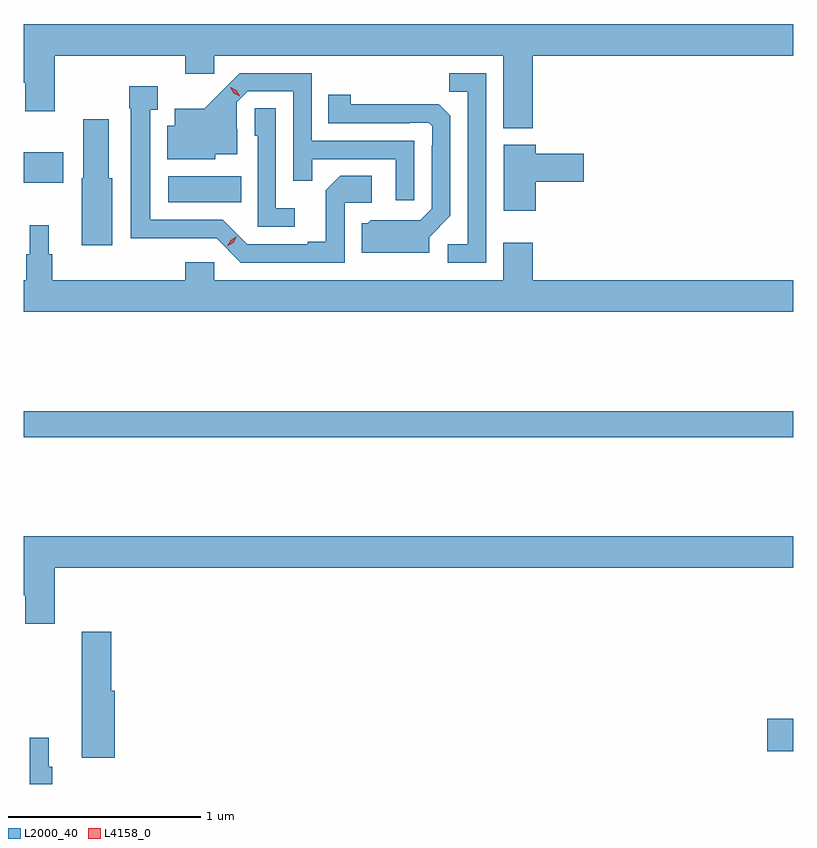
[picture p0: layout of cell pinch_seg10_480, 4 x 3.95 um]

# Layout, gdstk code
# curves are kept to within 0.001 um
import gdstk
lib = gdstk.Library(unit=1e-6, precision=1e-09)
def R(c, l, rs):  # rectangles x0, y0, x1, y1
    for r in rs: c.add(gdstk.rectangle(r[:2], r[2:], *l))
def P(c, l, *ps):  # polygons
    for p in ps: c.add(gdstk.Polygon(p, *l))
L2000_40 = (2000, 40)
L4158_0 = (4158, 0)

pinch_seg10_480 = lib.new_cell('pinch_seg10_480')
R(pinch_seg10_480, L2000_40, [(265.92,1299.362,266.056,1299.533), (262.056,1300.996,266.056,1301.132), (262.806,1302.218,263.186,1302.352), (262.056,1302.32,262.261,1302.478)])
P(pinch_seg10_480, L2000_40, [(264.701,1302.98),(266.056,1302.98),(266.056,1303.144),(262.056,1303.144),(262.056,1302.838),(262.064,1302.838),(262.064,1302.69),(262.217,1302.69),(262.217,1302.98),(262.895,1302.98),(262.895,1302.885),(263.046,1302.885),(263.046,1302.98),(264.548,1302.98),(264.548,1302.602),(264.701,1302.602)],
  [(264.087,1302.537),(263.553,1302.537),(263.553,1302.888),(263.18,1302.888),(262.993,1302.703),(262.841,1302.703),(262.841,1302.616),(262.802,1302.616),(262.802,1302.44),(263.052,1302.44),(263.052,1302.467),(263.167,1302.467),(263.167,1302.596),(263.163,1302.596),(263.163,1302.738),(263.22,1302.795),(263.457,1302.795),(263.457,1302.328),(263.555,1302.328),(263.555,1302.441),(263.991,1302.441),(263.991,1302.228),(264.087,1302.228)],
  [(264.459,1302.888),(264.268,1302.888),(264.268,1302.793),(264.363,1302.793),(264.363,1302),(264.261,1302),(264.261,1301.904),(264.459,1301.904)],
  [(263.724,1302.216),(263.866,1302.216),(263.866,1302.356),(263.701,1302.356),(263.625,1302.28),(263.625,1302.013),(263.531,1302.013),(263.531,1302),(263.217,1302),(263.091,1302.126),(262.714,1302.126),(262.714,1302.699),(262.753,1302.699),(262.753,1302.82),(262.603,1302.82),(262.603,1302.707),(262.613,1302.707),(262.613,1302.029),(263.058,1302.03),(263.184,1301.904),(263.724,1301.904)],
  [(264.163,1302.036),(264.273,1302.146),(264.273,1302.668),(264.214,1302.727),(263.757,1302.728),(263.757,1302.775),(263.638,1302.775),(263.638,1302.627),(264.062,1302.627),(264.062,1302.63),(264.162,1302.63),(264.18,1302.612),(264.18,1302.512),(264.177,1302.512),(264.177,1302.183),(264.117,1302.123),(263.86,1302.124),(263.844,1302.108),(263.813,1302.108),(263.813,1301.954),(264.163,1301.954)],
  [(263.464,1302.187),(263.367,1302.187),(263.367,1302.707),(263.256,1302.707),(263.256,1302.564),(263.271,1302.564),(263.271,1302.09),(263.464,1302.09)],
  [(262.516,1302.342),(262.498,1302.342),(262.498,1302.649),(262.364,1302.649),(262.364,1302.342),(262.358,1302.342),(262.358,1301.994),(262.516,1301.994)],
  [(264.718,1302.323),(264.967,1302.323),(264.967,1302.47),(264.718,1302.47),(264.718,1302.517),(264.551,1302.517),(264.551,1302.174),(264.718,1302.174)],
  [(266.056,1301.812),(264.701,1301.812),(264.701,1302.007),(264.548,1302.007),(264.548,1301.812),(263.046,1301.812),(263.046,1301.905),(262.895,1301.905),(262.895,1301.812),(262.205,1301.812),(262.205,1301.946),(262.186,1301.946),(262.186,1302.097),(262.088,1302.097),(262.088,1301.946),(262.069,1301.946),(262.069,1301.812),(262.056,1301.812),(262.056,1301.648),(266.056,1301.648)],
  [(262.217,1300.316),(266.056,1300.316),(266.056,1300.48),(262.056,1300.48),(262.056,1300.174),(262.064,1300.174),(262.064,1300.026),(262.217,1300.026)],
  [(262.529,1299.678),(262.511,1299.678),(262.511,1299.985),(262.357,1299.985),(262.357,1299.678),(262.358,1299.678),(262.358,1299.33),(262.529,1299.33)],
  [(262.205,1299.282),(262.186,1299.282),(262.186,1299.433),(262.087,1299.433),(262.087,1299.193),(262.205,1299.193)])
P(pinch_seg10_480, L4158_0, [(263.178,1302.769),(263.147,1302.785),(263.13,1302.814),(263.13,1302.815),(263.131,1302.815),(263.161,1302.799),(263.178,1302.77),(263.178,1302.769)],
  [(263.114,1301.988),(263.114,1301.989),(263.131,1302.021),(263.162,1302.041),(263.162,1302.041),(263.162,1302.04),(263.146,1302.008),(263.115,1301.988)])

lib.write_gds('pinch_seg10_480.gds')
